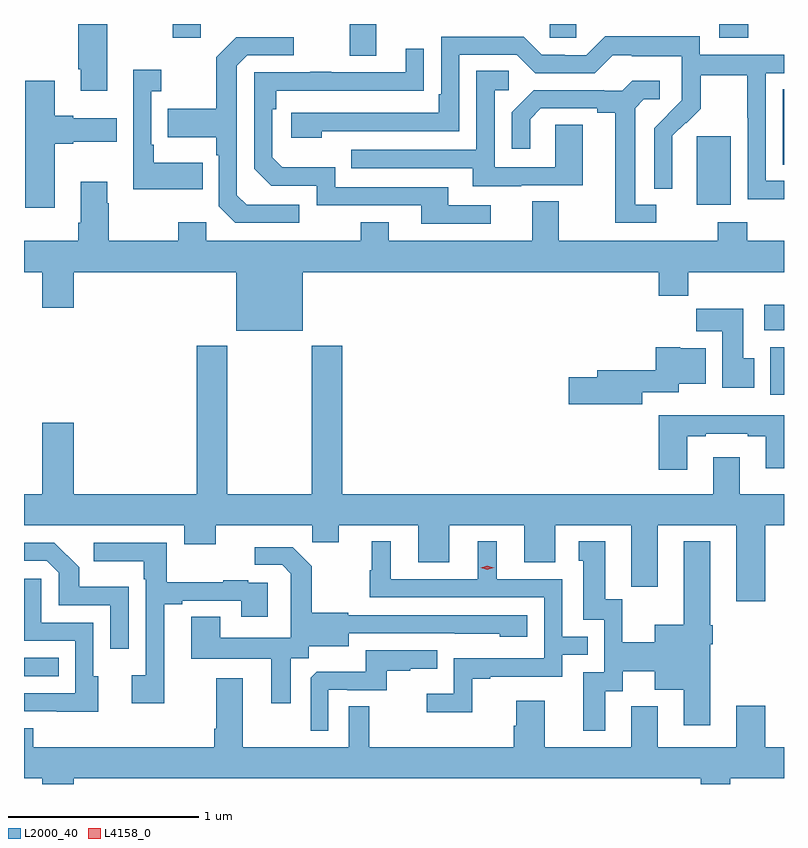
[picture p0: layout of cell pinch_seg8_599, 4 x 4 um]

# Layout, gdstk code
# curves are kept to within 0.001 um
import gdstk
lib = gdstk.Library(unit=1e-6, precision=1e-09)
def R(c, l, rs):  # rectangles x0, y0, x1, y1
    for r in rs: c.add(gdstk.rectangle(r[:2], r[2:], *l))
def P(c, l, *ps):  # polygons
    for p in ps: c.add(gdstk.Polygon(p, *l))
L2000_40 = (2000, 40)
L4158_0 = (4158, 0)

pinch_seg8_599 = lib.new_cell('pinch_seg8_599')
R(pinch_seg8_599, L2000_40, [(212.863,1089.066,213.047,1089.162), (216.791,1090.548,216.863,1090.798), (216.759,1090.886,216.863,1091.02), (216.404,1091.546,216.583,1091.907), (216.857,1091.758,216.863,1092.155), (214.577,1092.33,214.717,1092.498), (213.646,1092.425,213.793,1092.498), (216.521,1092.425,216.674,1092.498), (215.631,1092.426,215.769,1092.498)])
P(pinch_seg8_599, L2000_40, [(213.301,1092.498),(213.149,1092.498),(213.149,1092.259),(213.161,1092.259),(213.161,1092.147),(213.301,1092.147)],
  [(216.863,1091.673),(216.768,1091.673),(216.768,1092.24),(216.863,1092.24),(216.863,1092.336),(216.42,1092.336),(216.42,1092.433),(215.923,1092.433),(215.823,1092.333),(215.708,1092.333),(215.708,1092.336),(215.589,1092.336),(215.493,1092.432),(215.058,1092.432),(215.058,1092.127),(215.045,1092.127),(215.045,1092.03),(214.269,1092.03),(214.269,1091.9),(214.43,1091.9),(214.43,1091.934),(215.154,1091.934),(215.154,1092.336),(215.457,1092.336),(215.553,1092.24),(215.868,1092.24),(215.961,1092.333),(216.061,1092.333),(216.061,1092.329),(216.324,1092.329),(216.324,1092.195),(216.326,1092.195),(216.326,1092.098),(216.18,1091.95),(216.18,1091.632),(216.276,1091.632),(216.275,1091.909),(216.345,1091.979),(216.348,1091.976),(216.425,1092.053),(216.425,1092.228),(216.67,1092.228),(216.67,1092.004),(216.672,1092.004),(216.672,1091.575),(216.863,1091.575)],
  [(214.312,1091.547),(214.035,1091.547),(213.984,1091.598),(213.984,1092.279),(214.038,1092.333),(214.282,1092.333),(214.282,1092.429),(213.981,1092.429),(213.876,1092.323),(213.876,1092.051),(213.619,1092.051),(213.619,1091.903),(213.876,1091.903),(213.876,1091.807),(213.888,1091.807),(213.888,1091.538),(213.975,1091.451),(214.312,1091.451)],
  [(215.32,1091.544),(215.095,1091.544),(215.095,1091.64),(214.5,1091.64),(214.5,1091.743),(214.223,1091.743),(214.17,1091.796),(214.17,1092.05),(214.19,1092.05),(214.19,1092.147),(214.967,1092.148),(214.967,1092.367),(214.871,1092.367),(214.871,1092.243),(214.481,1092.243),(214.481,1092.248),(214.369,1092.248),(214.369,1092.243),(214.074,1092.243),(214.074,1091.736),(214.164,1091.646),(214.404,1091.646),(214.404,1091.544),(214.955,1091.544),(214.955,1091.448),(215.32,1091.448)],
  [(213.803,1091.767),(213.547,1091.767),(213.547,1091.863),(213.534,1091.863),(213.534,1092.143),(213.586,1092.143),(213.586,1092.256),(213.438,1092.256),(213.438,1091.627),(213.803,1091.627)],
  [(215.479,1091.649),(215.803,1091.649),(215.803,1091.969),(215.658,1091.969),(215.658,1091.745),(215.34,1091.745),(215.34,1092.15),(215.413,1092.15),(215.413,1092.251),(215.244,1092.251),(215.244,1091.835),(214.585,1091.835),(214.585,1091.739),(215.225,1091.739),(215.225,1091.645),(215.479,1091.645)],
  [(216.19,1091.547),(216.079,1091.547),(216.079,1092.055),(216.126,1092.102),(216.208,1092.102),(216.208,1092.199),(216.064,1092.199),(216.012,1092.147),(215.918,1092.147),(215.918,1092.15),(215.546,1092.15),(215.43,1092.034),(215.43,1091.841),(215.527,1091.841),(215.527,1091.997),(215.584,1092.054),(215.879,1092.054),(215.879,1092.032),(215.975,1092.032),(215.975,1091.451),(216.19,1091.451)],
  [(213.025,1091.867),(213.121,1091.867),(213.121,1091.879),(213.352,1091.879),(213.352,1092.001),(213.121,1092.001),(213.121,1092.014),(213.025,1092.014),(213.025,1092.199),(212.87,1092.199),(212.87,1091.532),(213.025,1091.532)],
  [(212.863,1091.192),(212.96,1091.192),(212.96,1091.004),(213.124,1091.004),(213.124,1091.192),(213.98,1091.192),(213.98,1090.883),(214.33,1090.883),(214.33,1091.192),(216.203,1091.192),(216.203,1091.068),(216.359,1091.068),(216.359,1091.192),(216.863,1091.192),(216.863,1091.356),(216.669,1091.356),(216.669,1091.455),(216.514,1091.455),(216.514,1091.356),(215.677,1091.356),(215.677,1091.564),(215.537,1091.564),(215.537,1091.356),(214.783,1091.356),(214.783,1091.455),(214.636,1091.455),(214.636,1091.356),(213.822,1091.356),(213.822,1091.455),(213.676,1091.455),(213.676,1091.356),(213.309,1091.356),(213.309,1091.555),(213.301,1091.555),(213.301,1091.668),(213.161,1091.668),(213.161,1091.452),(213.149,1091.452),(213.149,1091.356),(212.863,1091.356)],
  [(216.706,1090.74),(216.649,1090.74),(216.649,1090.999),(216.4,1090.999),(216.4,1090.88),(216.539,1090.88),(216.539,1090.584),(216.706,1090.584)],
  [(216.764,1089.86),(216.863,1089.86),(216.863,1090.024),(216.631,1090.024),(216.631,1090.219),(216.491,1090.219),(216.491,1090.024),(214.538,1090.024),(214.538,1090.804),(214.378,1090.804),(214.378,1090.024),(213.933,1090.024),(213.933,1090.804),(213.773,1090.804),(213.773,1090.024),(213.124,1090.024),(213.124,1090.399),(212.96,1090.399),(212.96,1090.024),(212.863,1090.024),(212.863,1089.86),(213.707,1089.86),(213.707,1089.761),(213.871,1089.761),(213.871,1089.86),(214.381,1089.86),(214.381,1089.77),(214.519,1089.77),(214.519,1089.86),(214.937,1089.86),(214.937,1089.666),(215.101,1089.666),(215.101,1089.86),(215.495,1089.86),(215.495,1089.666),(215.659,1089.666),(215.659,1089.86),(216.059,1089.86),(216.059,1089.649),(216.06,1089.649),(216.06,1089.537),(216.199,1089.537),(216.199,1089.86),(216.611,1089.86),(216.611,1089.459),(216.764,1089.459)],
  [(216.118,1090.56),(216.31,1090.56),(216.31,1090.604),(216.451,1090.604),(216.451,1090.792),(216.318,1090.792),(216.318,1090.798),(216.188,1090.798),(216.188,1090.676),(215.879,1090.676),(215.879,1090.64),(215.73,1090.64),(215.73,1090.498),(216.118,1090.498)],
  [(216.355,1090.329),(216.451,1090.329),(216.451,1090.341),(216.671,1090.341),(216.671,1090.329),(216.767,1090.329),(216.767,1090.16),(216.863,1090.16),(216.863,1090.438),(216.203,1090.438),(216.203,1090.152),(216.355,1090.152)],
  [(215.923,1088.986),(216.013,1088.986),(216.013,1089.092),(216.182,1089.092),(216.182,1088.993),(216.335,1088.993),(216.335,1088.808),(216.475,1088.808),(216.475,1089.233),(216.488,1089.233),(216.488,1089.333),(216.475,1089.333),(216.475,1089.775),(216.335,1089.775),(216.335,1089.337),(216.182,1089.337),(216.182,1089.244),(216.012,1089.244),(216.012,1089.471),(215.923,1089.471),(215.923,1089.775),(215.783,1089.775),(215.783,1089.672),(215.807,1089.672),(215.807,1089.363),(215.916,1089.363),(215.916,1089.087),(215.807,1089.087),(215.807,1088.778),(215.923,1088.778)],
  [(215.223,1089.051),(215.317,1089.051),(215.317,1089.063),(215.697,1089.063),(215.697,1089.177),(215.831,1089.177),(215.831,1089.273),(215.697,1089.273),(215.697,1089.576),(215.35,1089.576),(215.35,1089.775),(215.252,1089.775),(215.252,1089.576),(214.792,1089.576),(214.792,1089.775),(214.694,1089.775),(214.694,1089.624),(214.683,1089.624),(214.683,1089.48),(215.601,1089.48),(215.601,1089.159),(215.124,1089.159),(215.124,1088.974),(214.983,1088.974),(214.983,1088.876),(215.223,1088.876)],
  [(213.414,1089.535),(213.153,1089.535),(213.153,1089.638),(213.022,1089.768),(212.863,1089.768),(212.863,1089.672),(212.982,1089.672),(213.045,1089.609),(213.045,1089.438),(213.318,1089.438),(213.318,1089.21),(213.414,1089.21)],
  [(213.601,1089.444),(213.697,1089.444),(213.697,1089.462),(214.007,1089.462),(214.007,1089.378),(214.147,1089.378),(214.147,1089.558),(214.043,1089.558),(214.043,1089.571),(213.911,1089.571),(213.911,1089.56),(213.613,1089.56),(213.613,1089.768),(213.231,1089.768),(213.231,1089.671),(213.492,1089.671),(213.492,1089.575),(213.504,1089.575),(213.504,1089.07),(213.429,1089.07),(213.429,1088.922),(213.601,1088.922)],
  [(214.267,1089.16),(214.362,1089.16),(214.362,1089.224),(214.573,1089.224),(214.573,1089.291),(215.367,1089.29),(215.367,1089.272),(215.512,1089.272),(215.512,1089.387),(214.569,1089.387),(214.569,1089.4),(214.377,1089.4),(214.377,1089.645),(214.277,1089.745),(214.077,1089.745),(214.077,1089.651),(214.221,1089.651),(214.268,1089.604),(214.268,1089.509),(214.266,1089.509),(214.266,1089.268),(213.895,1089.268),(213.895,1089.377),(213.743,1089.377),(213.743,1089.158),(214.163,1089.158),(214.163,1088.922),(214.267,1088.922)],
  [(213.253,1089.066),(213.228,1089.066),(213.228,1089.348),(212.955,1089.348),(212.955,1089.577),(212.863,1089.577),(212.863,1089.252),(213.132,1089.252),(213.132,1088.976),(212.863,1088.976),(212.863,1088.88),(213.035,1088.88),(213.035,1088.879),(213.253,1088.879)],
  [(214.464,1088.994),(214.564,1088.994),(214.564,1088.991),(214.772,1088.991),(214.772,1089.093),(214.895,1089.093),(214.895,1089.104),(215.039,1089.104),(215.039,1089.201),(214.662,1089.201),(214.662,1089.089),(214.403,1089.089),(214.371,1089.057),(214.371,1088.777),(214.464,1088.777)],
  [(216.425,1088.498),(216.581,1088.498),(216.581,1088.528),(216.863,1088.528),(216.863,1088.692),(216.764,1088.692),(216.764,1088.911),(216.611,1088.911),(216.611,1088.692),(216.199,1088.692),(216.199,1088.908),(216.059,1088.908),(216.059,1088.692),(215.605,1088.692),(215.605,1088.935),(215.453,1088.935),(215.453,1088.805),(215.441,1088.805),(215.441,1088.692),(214.681,1088.692),(214.681,1088.906),(214.572,1088.906),(214.572,1088.692),(214.015,1088.692),(214.015,1089.055),(213.875,1089.055),(213.875,1088.788),(213.863,1088.788),(213.863,1088.692),(212.911,1088.692),(212.911,1088.791),(212.863,1088.791),(212.863,1088.528),(212.96,1088.528),(212.96,1088.498),(213.124,1088.498),(213.124,1088.528),(216.425,1088.528)])
P(pinch_seg8_599, L4158_0, [(215.301,1089.626),(215.266,1089.636),(215.265,1089.636),(215.266,1089.636),(215.301,1089.646),(215.336,1089.636),(215.337,1089.636),(215.336,1089.636)])

lib.write_gds('pinch_seg8_599.gds')
